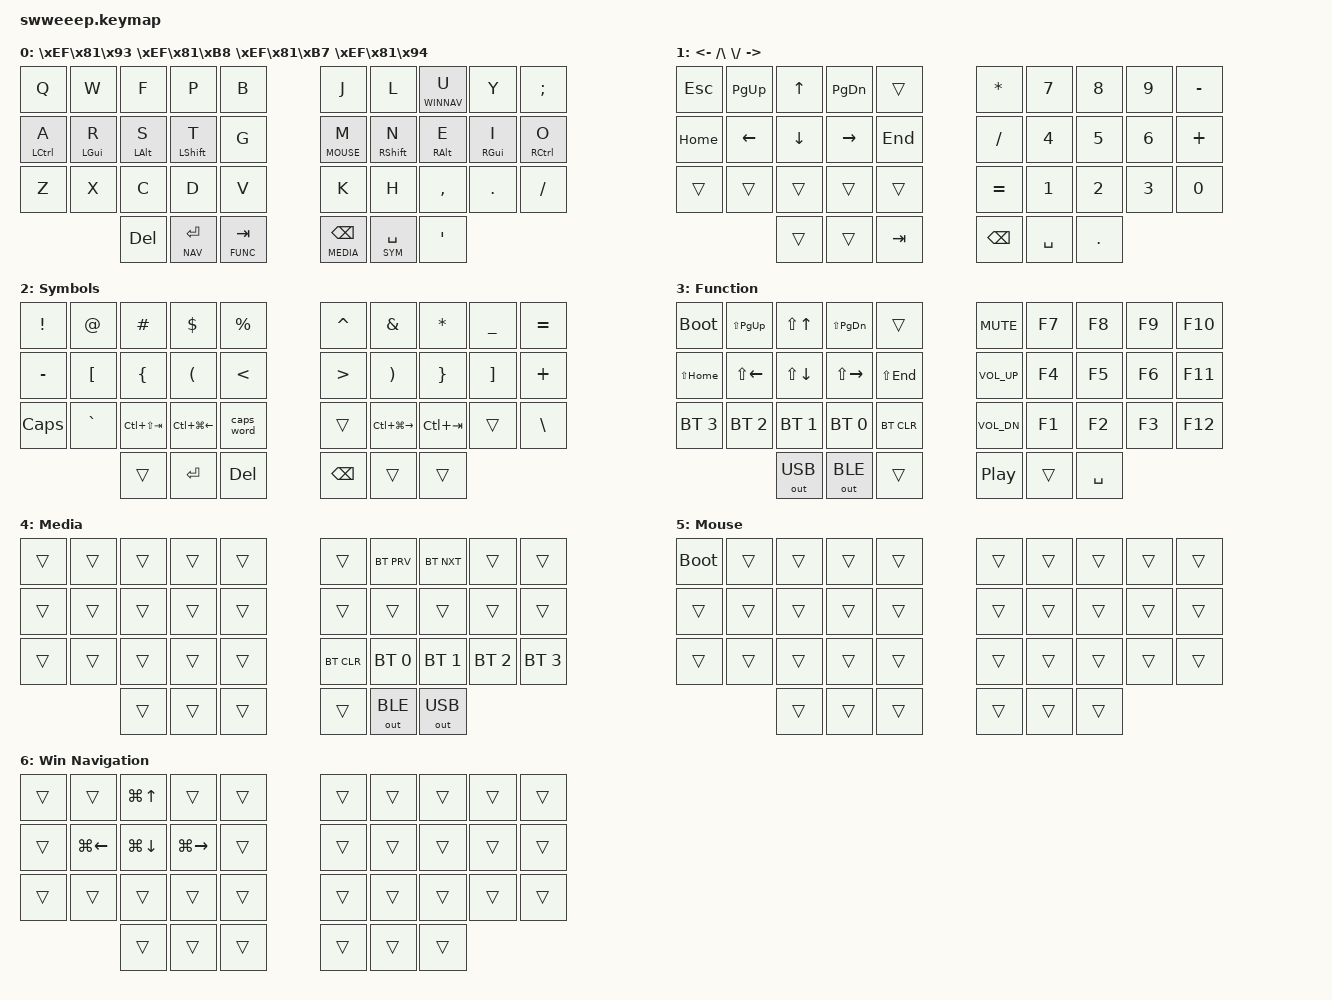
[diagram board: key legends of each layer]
#include <behaviors.dtsi>
#include <dt-bindings/zmk/keys.h>
#include <dt-bindings/zmk/bt.h>
#include <dt-bindings/zmk/outputs.h>

#define DEFAULT 0
#define NAV     1
#define SYM     2
#define FUNC    3
#define MEDIA   4
#define MOUSE   5
#define WINNAV  6

&caps_word {
    continue-list = <UNDERSCORE MINUS>;
};

/ {
    combos {
        compatible = "zmk,combos";
        combo_undo {
            timeout-ms = <50>;
            key-positions = <20 21>;
            bindings = <&kp LC(Z)>;
        };
        combo_q {
            timeout-ms = <50>;
            key-positions = <21 22>;
            bindings = <&kp Q>;
        };
        combo_semicolon {
            timeout-ms = <50>;
            key-positions = <27 28>;
            bindings = <&kp SEMI>;
        };
    };
};

/ {

    behaviors {
        hm: homerow_mods {
            compatible = "zmk,behavior-hold-tap";
            label = "HOMEROW_MODS";
            #binding-cells = <2>;
            tapping-term-ms = <200>;
            quick_tap_ms = <0>;
            flavor = "balanced";
            bindings = <&kp>, <&kp>;
        };
        hs: homerow_shift {
            compatible = "zmk,behavior-hold-tap";
            label = "HOMEROW_SHIFT";
            #binding-cells = <2>;
            tapping-term-ms = <175>;
            quick_tap_ms = <0>;
            flavor = "balanced";
            bindings = <&kp>, <&kp>;
        };
    };

    keymap {
        compatible = "zmk,keymap";

        default_layer {
            label = "\xEF\x81\x93 \xEF\x81\xB8 \xEF\x81\xB7 \xEF\x81\x94";

            bindings = <
    &kp Q        &kp W        &kp F       &kp P         &kp B                                       &kp J         &kp L        &lt WINNAV U  &kp Y       &kp SEMI
    &hm LCTL A   &hm LGUI R   &hm LALT S  &hs LSHIFT T  &kp G                                       &lt MOUSE M   &hs RSHIFT N &hm RALT E    &hm RGUI I  &hm RCTL O
    &kp Z        &kp X        &kp C       &kp D         &kp V                                       &kp K         &kp H        &kp COMMA     &kp DOT     &kp FSLH
                                          &kp DEL       &lt NAV RET  &lt FUNC TAB  &lt MEDIA BSPC   &lt SYM SPACE &kp SQT
            >;
        };

        nav_layer {
            label = "<- /\ \/ ->";

            bindings = <
    &kp ESC      &kp PG_UP    &kp UP      &kp PG_DN     &trans                                      &kp ASTRK     &kp N7       &kp N8        &kp N9      &kp MINUS
    &kp HOME     &kp LEFT     &kp DOWN    &kp RIGHT     &kp END                                     &kp FSLH      &kp N4       &kp N5        &kp N6      &kp PLUS
    &trans       &trans       &trans      &trans        &trans                                      &kp EQUAL     &kp N1       &kp N2        &kp N3      &kp N0
                                          &trans        &trans       &kp TAB       &kp BSPC         &kp SPACE     &kp DOT
            >;
        };

        sym_layer {
            label = "Symbols";

            bindings = <
    &kp EXCL     &kp AT       &kp HASH        &kp DLLR         &kp PRCNT                                   &kp CARET     &kp AMPS          &kp ASTRK     &kp UNDER   &kp EQUAL
    &kp MINUS    &kp LBKT     &kp LBRC        &kp LPAR         &kp LT                                      &kp GT        &kp RPAR          &kp RBRC      &kp RBKT    &kp PLUS
    &kp CAPS     &kp GRAVE    &kp LC(LS(TAB)) &kp LC(LG(LEFT)) &caps_word                                  &trans        &kp LC(LG(RIGHT)) &kp LC(TAB)   &trans      &kp BSLH
                                              &trans           &kp RET       &kp DEL        &kp BSPC       &trans        &trans
            >;
        };

        func_layer {
            label = "Function";

            bindings = <
    &bootloader  &kp LS(PG_UP) &kp LS(UP)   &kp LS(PG_DN) &trans                                         &kp C_MUTE       &kp F7       &kp F8        &kp F9      &kp F10
    &kp LS(HOME) &kp LS(LEFT)  &kp LS(DOWN) &kp LS(RIGHT) &kp LS(END)                                    &kp K_VOL_UP     &kp F4       &kp F5        &kp F6      &kp F11
    &bt BT_SEL 3 &bt BT_SEL 2  &bt BT_SEL 1 &bt BT_SEL 0  &bt BT_CLR                                     &kp K_VOL_DN     &kp F1       &kp F2        &kp F3      &kp F12
                                            &out OUT_USB  &out OUT_BLE     &trans      &kp C_PLAY_PAUSE  &trans           &kp SPACE
            >;
        };

        media_layer {
            label = "Media";

            bindings = <
    &trans       &trans       &trans        &trans            &trans                                      &trans             &bt BT_PRV        &bt BT_NXT         &trans         &trans
    &trans       &trans       &trans        &trans            &trans                                      &trans             &trans            &trans             &trans         &trans
    &trans       &trans       &trans        &trans            &trans                                      &bt BT_CLR         &bt BT_SEL 0      &bt BT_SEL 1       &bt BT_SEL 2   &bt BT_SEL 3
                                            &trans            &trans        &trans         &trans         &out OUT_BLE       &out OUT_USB
            >;
        };

        mouse_layer {
            label = "Mouse";

            bindings = <
    &bootloader &trans      &trans      &trans      &trans                                           &trans      &trans      &trans      &trans      &trans
    &trans      &trans      &trans      &trans      &trans                                           &trans      &trans      &trans      &trans      &trans
    &trans      &trans      &trans      &trans      &trans                                           &trans      &trans      &trans      &trans      &trans
                                        &trans      &trans          &trans           &trans          &trans      &trans
            >;
        };

        winnav_layer {
            label = "Win Navigation";

            bindings = <
    &trans       &trans       &kp LG(UP)   &trans        &trans                                      &trans      &trans      &trans      &trans      &trans
    &trans       &kp LG(LEFT) &kp LG(DOWN) &kp LG(RIGHT) &trans                                      &trans      &trans      &trans      &trans      &trans
    &trans       &trans       &trans       &trans        &trans                                      &trans      &trans      &trans      &trans      &trans
                                           &trans        &trans        &trans         &trans         &trans      &trans
            >;
        };
    };
};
